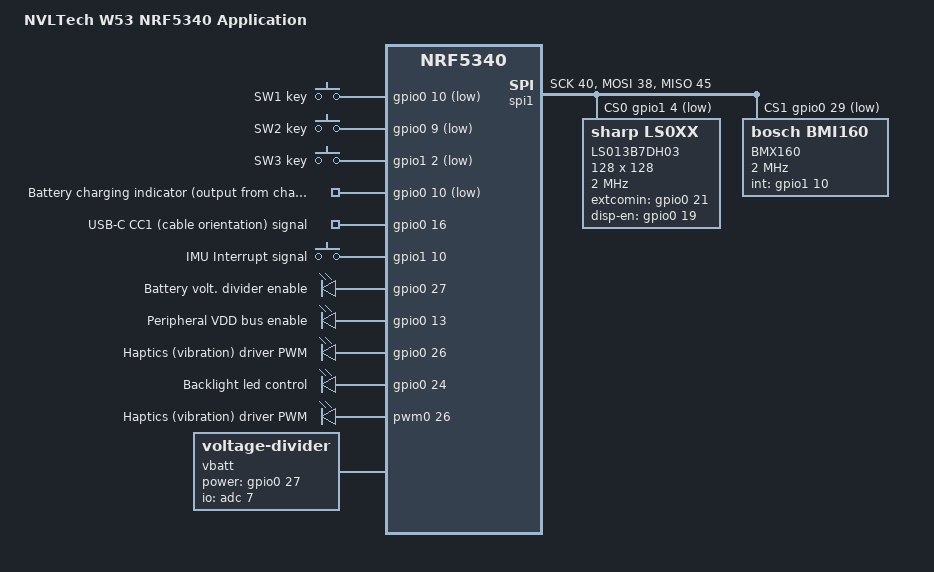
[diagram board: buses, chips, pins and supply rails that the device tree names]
/*
 * Copyright (c) 2020 Nordic Semiconductor ASA
 *
 * SPDX-License-Identifier: Apache-2.0
 */

/dts-v1/;
#include <nordic/nrf5340_cpuapp_qkaa.dtsi>
#include "nrf5340_cpuapp_common.dts"

/ {
	model = "NVLTech W53 NRF5340 Application";
	compatible = "w53-cpuapp";

	chosen {
		zephyr,sram = &sram0_image;
		zephyr,flash = &flash0;
		zephyr,code-partition = &slot0_partition;
		zephyr,sram-secure-partition = &sram0_s;
		zephyr,sram-non-secure-partition = &sram0_ns;
	};

	buttons {
		compatible = "gpio-keys";
		button0: button_0 {
			/* Lower right */
			gpios = <&gpio0 10 (GPIO_PULL_UP | GPIO_ACTIVE_LOW)>;
			label = "SW1 key";
		};
		button1: button_1 {
			/* Upper right */
			gpios = <&gpio0 9 (GPIO_PULL_UP | GPIO_ACTIVE_LOW)>;
			label = "SW2 key";
		};
		button2: button_2 {
			/* Upper left */
			gpios = <&gpio1 2 (GPIO_PULL_UP | GPIO_ACTIVE_LOW)>;
			label = "SW3 key";
		};
	};

	board_inputs {
		/* TODO: maybe change compatible ? */
		compatible = "gpio-keys";
		chg_state: chg_state {
			gpios = <&gpio0 10 (GPIO_PULL_UP | GPIO_ACTIVE_LOW)>;
			label = "Battery charging indicator (output from charger)";
			/* Shared with SW1 */
		};
		usb_cc1: usb_cc1 {
			gpios = <&gpio0 16 GPIO_ACTIVE_HIGH>;
			label = "USB-C CC1 (cable orientation) signal";
		};
		imu_irq: imu_irq {
			gpios = <&gpio1 10 GPIO_ACTIVE_HIGH>;
			label = "IMU Interrupt signal";
		};
	};

	board_outputs {
		/* TODO: maybe change compatible ? */
		compatible = "gpio-leds";
		batmon_en: batmon_en {
			gpios = <&gpio0 27 GPIO_ACTIVE_HIGH>;
			label = "Battery volt. divider enable";
		};
		periph_en: periph_en {
			gpios = <&gpio0 13 GPIO_ACTIVE_HIGH>;
			label = "Peripheral VDD bus enable";
		};
		motor: motor {
			gpios = <&gpio0 26 GPIO_ACTIVE_HIGH>;
			label = "Haptics (vibration) driver PWM";
		};
		disp_led: disp_led {
			gpios = <&gpio0 24 GPIO_ACTIVE_HIGH>;
			label = "Backlight led control";
		};
	};

	board_pwm {
		compatible = "pwm-leds";
		hapt_pwm: hapt_pwm {
			pwms = <&pwm0 26>;
			label = "Haptics (vibration) driver PWM";
		};
	};

   	vbatt {
   		compatible = "voltage-divider";
   		io-channels = <&adc 7>; /* GPIO 0:28 */
   		output-ohms = <10000>;
   		full-ohms = <(10000 + 10000)>;
   		power-gpios = <&gpio0 27 GPIO_ACTIVE_HIGH>;
   	};

	aliases {
		sw0 = &button0;
		sw1 = &button1;
		sw2 = &button2;
		usbd0 = &usbd;
	};
};

&spi1 {
	compatible = "nordic,nrf-spim";
	status = "okay";
	sck-pin = <40>;				/* P1.08 */
	miso-pin = <45>;			/* P1.13 */
	mosi-pin = <38>;			/* P1.06 */

	cs-gpios = <&gpio1 4 GPIO_ACTIVE_LOW>, /* Display */
				<&gpio0 29 GPIO_ACTIVE_LOW>; /* IMU */

	ls0xx@0 {
		compatible = "sharp,ls0xx";
		label = "LS013B7DH03";
		spi-max-frequency = <2000000>;
		reg = <0>;
		width = <128>;
		height = <128>;
		extcomin-gpios = <&gpio0 21 GPIO_ACTIVE_HIGH>;
		extcomin-frequency = <60>;
		disp-en-gpios = <&gpio0 19 GPIO_ACTIVE_HIGH>;
	};

	bmx160@1 {
		/* BMX160 seems to be register-compatible with BMI160 */
		compatible = "bosch,bmi160";
		label = "BMX160";
		reg = <1>;
		spi-max-frequency = <2000000>;
		int-gpios = <&gpio1 10 GPIO_ACTIVE_HIGH>;
	};
};

&usbd {
	compatible = "nordic,nrf-usbd";
	/* status = "okay"; */
};
